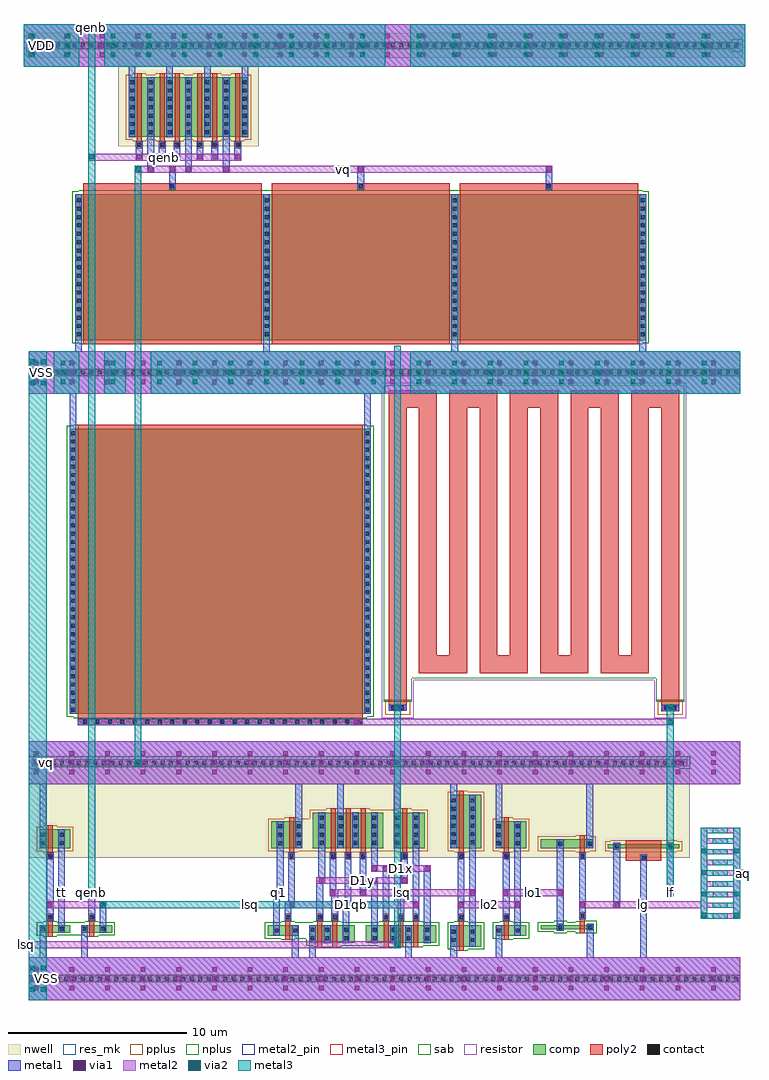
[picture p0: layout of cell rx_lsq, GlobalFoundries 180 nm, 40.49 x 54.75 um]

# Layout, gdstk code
import gdstk
lib = gdstk.Library(unit=1e-6, precision=1e-09)
def R(c, l, rs):  # rectangles x0, y0, x1, y1
    for r in rs: c.add(gdstk.rectangle(r[:2], r[2:], *l))
def A(c, l, x, y, w, h, nx, ny, dx, dy):  # array of equal rectangles
    R(c, l, [(x+i*dx, y+j*dy, x+i*dx+w, y+j*dy+h) for i in range(nx) for j in range(ny)])
nwell = (21, 0)
comp = (22, 0)
poly2 = (30, 0)
pplus = (31, 0)
nplus = (32, 0)
contact = (33, 0)
metal1 = (34, 0)
via1 = (35, 0)
metal2 = (36, 0)
metal2_pin = (36, 10)
via2 = (38, 0)
metal3 = (42, 0)
metal3_pin = (42, 10)
sab = (49, 0)
resistor = (62, 0)
res_mk = (110, 5)

rx_lsq = lib.new_cell('rx_lsq')
R(rx_lsq, nwell, [(0.3,5.585,37.38,11.255), (5.3,45.485,13.2,50.45), (0.15,50.45,40.34,51.85)])
R(rx_lsq, comp, [(0.3,-1.39,40.19,-1.01), (23.95,0.6,25.68,1.8), (16.02,0.8,18.59,1.8), (19.19,0.8,23.15,1.8), (13.69,1.2,15.42,1.8), (26.48,1.2,28.21,1.8), (0.9,1.38,2.63,1.8), (3.23,1.38,4.96,1.8), (29.92,1.5,30.3,1.58), (31.6,1.5,31.98,1.58), (29.01,1.58,31.98,1.8), (29.92,1.8,30.3,1.88), (31.6,1.8,31.98,1.88), (33.09,6.035,33.47,6.115), (36.09,6.035,36.47,6.115), (0.9,6.115,2.63,7.165), (13.89,6.115,15.62,7.615), (16.22,6.115,20.18,8.115), (20.78,6.115,22.51,8.115), (23.95,6.115,25.68,9.115), (26.48,6.115,28.21,7.615), (29.01,6.115,31.94,6.615), (32.78,6.115,36.78,6.335), (33.09,6.335,33.47,6.415), (36.09,6.335,36.47,6.415), (0.45,10.725,37.23,11.105), (2.58,13.645,19.48,29.645), (0.3,32.615,40.19,32.995), (2.9,34.605,34.92,42.795), (5.9,46.015,12.6,49.35), (0.3,50.96,40.19,51.34)])
A(rx_lsq, poly2, 20.19, 0.57, 0.28, 1.49, 3, 1, 0.84, 0)
A(rx_lsq, poly2, 20.145, 2.06, 0.37, 0.37, 3, 1, 0.84, 0)
A(rx_lsq, poly2, 17.175, 5.485, 0.37, 0.37, 3, 1, 0.84, 0)
A(rx_lsq, poly2, 17.22, 5.855, 0.28, 2.49, 3, 1, 0.84, 0)
A(rx_lsq, poly2, 22.18, 15.935, 2.7, 1, 4, 1, 3.4, 0)
A(rx_lsq, poly2, 22.18, 16.935, 1, 13.88, 8, 1, 1.7, 0)
A(rx_lsq, poly2, 20.48, 30.815, 2.7, 1, 5, 1, 3.4, 0)
A(rx_lsq, poly2, 3.35, 34.375, 10, 9.05, 3, 1, 10.56, 0)
R(rx_lsq, poly2, [(24.4,0.37,24.68,2.06), (16.47,0.57,16.75,2.06), (17.31,0.57,17.59,2.06), (14.69,0.97,14.97,2.06), (26.93,0.97,27.21,2.06), (1.35,1.15,1.63,2.06), (3.68,1.15,3.96,2.06), (31.21,1.35,31.49,2.14), (1.305,2.06,1.675,2.43), (3.635,2.06,4.005,2.43), (14.645,2.06,15.015,2.43), (16.425,2.06,16.795,2.43), (17.265,2.06,17.635,2.43), (24.355,2.06,24.725,2.43), (26.885,2.06,27.255,2.43), (31.165,2.14,31.535,2.51), (33.78,5.405,35.78,6.565), (1.305,5.485,1.675,5.855), (14.845,5.485,15.215,5.855), (21.185,5.485,21.555,5.855), (24.355,5.485,24.725,5.855), (26.885,5.485,27.255,5.855), (31.165,5.485,31.535,5.855), (1.35,5.855,1.63,7.395), (14.89,5.855,15.17,7.845), (21.23,5.855,21.51,8.345), (24.4,5.855,24.68,9.345), (26.93,5.855,27.21,7.845), (31.21,5.855,31.49,6.845), (3.03,13.015,19.03,29.875), (35.78,13.81,36.78,30.815), (20.48,13.815,21.48,30.815), (6.305,45.385,6.675,45.755), (7.585,45.385,7.955,45.755), (8.425,45.385,8.795,45.755), (9.705,45.385,10.075,45.755), (10.545,45.385,10.915,45.755), (11.825,45.385,12.195,45.755), (6.35,45.755,6.63,49.58), (7.63,45.755,7.91,49.58), (8.47,45.755,8.75,49.58), (9.75,45.755,10.03,49.58), (10.59,45.755,10.87,49.58), (11.87,45.755,12.15,49.58)])
R(rx_lsq, pplus, [(0.28,-1.41,40.21,-0.99), (32.93,5.875,33.63,5.885), (35.93,5.875,36.63,5.885), (1.12,5.885,1.86,5.955), (14.66,5.885,15.4,5.955), (16.99,5.885,19.41,5.955), (21,5.885,21.74,5.955), (24.17,5.885,24.91,5.955), (26.7,5.885,27.44,5.955), (30.98,5.885,31.72,5.955), (32.93,5.885,36.63,5.955), (0.74,5.955,2.79,7.325), (13.73,5.955,22.67,7.775), (23.79,5.955,25.84,9.275), (26.32,5.955,28.37,7.775), (28.85,5.955,32.1,6.775), (32.62,5.955,36.94,6.495), (32.93,6.495,36.63,6.565), (32.93,6.565,33.63,6.575), (35.93,6.565,36.63,6.575), (30.98,6.775,31.72,6.845), (1.12,7.325,1.86,7.395), (14.66,7.775,15.4,7.845), (16.06,7.775,22.67,8.275), (26.7,7.775,27.44,7.845), (16.99,8.275,19.41,8.345), (21,8.275,21.74,8.345), (24.17,9.275,24.91,9.345), (35.58,13.61,36.98,14.42), (20.28,13.615,21.68,14.425), (0.28,32.595,40.21,33.015), (6.12,45.785,6.86,45.855), (7.4,45.785,8.98,45.855), (9.52,45.785,11.1,45.855), (11.64,45.785,12.38,45.855), (5.74,45.855,12.76,49.51), (6.12,49.51,6.86,49.58), (7.4,49.51,8.98,49.58), (9.52,49.51,11.1,49.58), (11.64,49.51,12.38,49.58)])
R(rx_lsq, nplus, [(24.17,0.37,24.91,0.44), (23.79,0.44,25.84,1.96), (16.24,0.57,17.82,0.64), (19.96,0.57,22.38,0.64), (15.86,0.64,23.31,1.04), (14.46,0.97,15.2,1.04), (26.7,0.97,27.44,1.04), (13.53,1.04,23.31,1.96), (26.32,1.04,28.37,1.96), (1.12,1.15,1.86,1.22), (3.45,1.15,4.19,1.22), (0.74,1.22,5.12,1.96), (29.76,1.34,30.46,1.42), (31.44,1.34,32.14,1.35), (30.98,1.35,32.14,1.42), (28.85,1.42,32.14,1.96), (1.12,1.96,1.86,2.03), (3.45,1.96,4.19,2.03), (14.46,1.96,15.2,2.03), (16.24,1.96,17.82,2.03), (19.96,1.96,22.38,2.03), (24.17,1.96,24.91,2.03), (26.7,1.96,27.44,2.03), (29.76,1.96,30.46,2.04), (30.98,1.96,32.14,2.03), (31.44,2.03,32.14,2.04), (0.29,10.565,0.89,10.665), (36.79,10.565,37.39,10.665), (0.29,10.665,37.39,11.265), (2.8,13.415,19.26,13.485), (2.42,13.485,19.64,29.805), (2.8,29.805,19.26,29.875), (3.12,34.375,34.7,34.445), (2.74,34.445,35.08,42.955), (3.12,42.955,34.7,43.025), (0.14,50.8,0.74,50.94), (39.75,50.8,40.35,50.94), (0.14,50.94,40.35,51.36), (0.14,51.36,0.74,51.5), (39.75,51.36,40.35,51.5)])
A(rx_lsq, contact, 0.395, -1.31, 0.22, 0.22, 85, 2, 0.47, 34.005)
A(rx_lsq, contact, 20.22, 2.135, 0.22, 0.22, 3, 1, 0.84, 0)
A(rx_lsq, contact, 17.25, 5.56, 0.22, 0.22, 3, 1, 0.84, 0)
A(rx_lsq, contact, 14.28, 6.285, 0.22, 0.22, 1, 3, 0, 0.47)
A(rx_lsq, contact, 15.325, 6.285, 0.22, 0.22, 1, 3, 0, 0.47)
A(rx_lsq, contact, 26.555, 6.285, 0.22, 0.22, 1, 3, 0, 0.47)
A(rx_lsq, contact, 27.6, 6.285, 0.22, 0.22, 1, 3, 0, 0.47)
A(rx_lsq, contact, 16.61, 6.3, 0.22, 0.22, 1, 4, 0, 0.47)
A(rx_lsq, contact, 17.67, 6.3, 0.22, 0.22, 1, 4, 0, 0.47)
A(rx_lsq, contact, 18.51, 6.3, 0.22, 0.22, 1, 4, 0, 0.47)
A(rx_lsq, contact, 19.57, 6.3, 0.22, 0.22, 1, 4, 0, 0.47)
A(rx_lsq, contact, 20.855, 6.3, 0.22, 0.22, 1, 4, 0, 0.47)
A(rx_lsq, contact, 21.9, 6.3, 0.22, 0.22, 1, 4, 0, 0.47)
A(rx_lsq, contact, 24.025, 6.33, 0.22, 0.22, 1, 6, 0, 0.47)
A(rx_lsq, contact, 25.07, 6.33, 0.22, 0.22, 1, 6, 0, 0.47)
A(rx_lsq, contact, 0.635, 10.805, 0.22, 0.22, 78, 1, 0.47, 0)
A(rx_lsq, contact, 3.335, 13.09, 0.22, 0.22, 23, 1, 0.7, 0)
A(rx_lsq, contact, 2.66, 13.78, 0.22, 0.22, 1, 34, 0, 0.47)
A(rx_lsq, contact, 19.18, 13.78, 0.22, 0.22, 1, 34, 0, 0.47)
A(rx_lsq, contact, 2.975, 34.83, 0.22, 0.22, 1, 17, 0, 0.47)
A(rx_lsq, contact, 13.52, 34.83, 0.22, 0.22, 1, 17, 0, 0.47)
A(rx_lsq, contact, 24.08, 34.83, 0.22, 0.22, 1, 17, 0, 0.47)
A(rx_lsq, contact, 34.625, 34.83, 0.22, 0.22, 1, 17, 0, 0.47)
A(rx_lsq, contact, 8.24, 43.13, 0.22, 0.22, 3, 1, 10.56, 0)
A(rx_lsq, contact, 5.975, 46.16, 0.22, 0.22, 1, 7, 0, 0.47)
A(rx_lsq, contact, 7.02, 46.16, 0.22, 0.22, 5, 7, 1.06, 0.47)
A(rx_lsq, contact, 12.305, 46.16, 0.22, 0.22, 1, 7, 0, 0.47)
A(rx_lsq, contact, 0.395, 51.04, 0.22, 0.22, 85, 1, 0.47, 0)
R(rx_lsq, contact, [(24.025,0.855,24.245,1.075), (25.07,0.855,25.29,1.075), (16.095,0.955,16.315,1.175), (16.92,0.955,17.14,1.175), (17.98,0.955,18.2,1.175), (19.58,0.955,19.8,1.175), (20.64,0.955,20.86,1.175), (21.48,0.955,21.7,1.175), (22.54,0.955,22.76,1.175), (24.025,1.325,24.245,1.545), (25.07,1.325,25.29,1.545), (14.08,1.39,14.3,1.61), (15.125,1.39,15.345,1.61), (26.555,1.39,26.775,1.61), (27.6,1.39,27.82,1.61), (16.095,1.425,16.315,1.645), (16.92,1.425,17.14,1.645), (17.98,1.425,18.2,1.645), (19.58,1.425,19.8,1.645), (20.64,1.425,20.86,1.645), (21.48,1.425,21.7,1.645), (22.54,1.425,22.76,1.645), (0.975,1.48,1.195,1.7), (2.02,1.48,2.24,1.7), (3.305,1.48,3.525,1.7), (4.35,1.48,4.57,1.7), (30,1.58,30.22,1.8), (31.68,1.58,31.9,1.8), (1.38,2.135,1.6,2.355), (3.71,2.135,3.93,2.355), (14.72,2.135,14.94,2.355), (16.5,2.135,16.72,2.355), (17.34,2.135,17.56,2.355), (24.43,2.135,24.65,2.355), (26.96,2.135,27.18,2.355), (31.24,2.215,31.46,2.435), (34.67,5.48,34.89,5.7), (1.38,5.56,1.6,5.78), (14.92,5.56,15.14,5.78), (21.26,5.56,21.48,5.78), (24.43,5.56,24.65,5.78), (26.96,5.56,27.18,5.78), (31.24,5.56,31.46,5.78), (33.17,6.115,33.39,6.335), (36.17,6.115,36.39,6.335), (30,6.255,30.22,6.475), (31.645,6.255,31.865,6.475), (0.975,6.295,1.195,6.515), (2.02,6.295,2.24,6.515), (0.975,6.765,1.195,6.985), (2.02,6.765,2.24,6.985), (35.935,13.88,36.155,14.1), (36.405,13.88,36.625,14.1), (20.635,13.885,20.855,14.105), (21.105,13.885,21.325,14.105), (6.38,45.46,6.6,45.68), (7.66,45.46,7.88,45.68), (8.5,45.46,8.72,45.68), (9.78,45.46,10,45.68), (10.62,45.46,10.84,45.68), (11.9,45.46,12.12,45.68)])
A(rx_lsq, metal1, 8.16, 43.05, 0.38, 1.34, 3, 1, 10.56, 0)
A(rx_lsq, metal1, 6.94, 44.01, 0.38, 5.345, 3, 1, 2.12, 0)
R(rx_lsq, metal1, [(0.3,-2.4,40.19,0), (0.895,0,1.275,1.805), (3.225,0,3.605,1.805), (15.045,0,15.425,1.805), (16.015,0,16.395,1.805), (21.4,0,21.78,1.805), (23.945,0,24.325,1.805), (26.475,0,26.855,1.805), (31.6,0,31.98,1.885), (34.59,0,34.97,5.78), (24.99,0.595,25.37,9.12), (16.84,0.795,17.22,1.805), (17.9,0.795,18.28,2.75), (19.5,0.795,19.88,4.49), (20.56,0.795,20.94,1.805), (22.46,0.795,22.84,5.17), (14,1.195,14.38,3.43), (27.52,1.195,27.9,7.62), (1.94,1.375,2.32,7.17), (4.27,1.375,4.65,3.13), (29.92,1.495,30.3,6.62), (1.3,2.055,1.68,5.86), (3.63,2.055,4.01,3.81), (14.64,2.055,15.02,2.75), (16.42,2.055,16.8,4.11), (17.26,2.055,17.64,3.43), (20.14,2.055,20.52,5.17), (20.98,2.055,21.36,3.81), (21.82,2.055,22.2,8.12), (24.35,2.055,24.73,5.86), (26.88,2.055,27.26,5.86), (31.16,2.135,31.54,5.86), (14.64,2.75,15.22,3.13), (17.9,2.75,18.39,3.13), (33.09,2.75,33.47,6.42), (14.84,3.13,15.22,5.86), (18.01,3.13,18.39,5.86), (14,3.43,14.58,3.81), (17.17,3.43,17.64,3.81), (18.85,3.43,19.23,5.86), (36.09,3.43,36.47,6.42), (14.2,3.81,14.58,7.62), (17.17,3.81,17.55,5.86), (16.42,4.11,16.91,4.49), (21.18,4.11,21.56,5.86), (16.53,4.49,16.91,8.12), (19.49,4.79,19.87,8.12), (0.895,6.11,1.275,9.715), (15.245,6.11,15.625,9.715), (17.59,6.11,17.97,9.715), (18.43,6.11,18.81,8.12), (20.775,6.11,21.155,9.715), (23.945,6.11,24.325,9.715), (26.475,6.11,26.855,9.715), (31.565,6.11,31.945,9.715), (0.3,9.715,40.19,12.115), (18.54,13.01,18.92,13.015), (3.03,13.015,19.03,13.385), (18.54,13.385,18.92,13.39), (2.58,13.645,2.96,31.605), (19.1,13.645,19.48,31.605), (36.09,13.8,36.47,13.81), (20.79,13.805,21.17,13.815), (35.78,13.81,36.78,14.17), (20.48,13.815,21.48,14.175), (36.09,14.17,36.47,14.18), (20.79,14.175,21.17,14.185), (0.3,31.605,40.19,34.005), (2.895,34.005,3.275,42.8), (13.44,34.005,13.82,42.8), (24,34.005,24.38,42.8), (34.545,34.005,34.925,42.8), (6.3,44.69,6.68,45.76), (7.58,44.69,7.96,45.76), (8.42,44.69,8.8,45.76), (9.7,44.69,10.08,45.76), (10.54,44.69,10.92,45.76), (11.82,44.69,12.2,45.76), (5.895,46.01,6.275,49.95), (8,46.01,8.38,49.95), (10.12,46.01,10.5,49.95), (12.225,46.01,12.605,49.95), (0,49.95,40.49,52.35)])
A(rx_lsq, via1, 0.57, -1.85, 0.26, 0.26, 20, 3, 2, 0.52)
A(rx_lsq, via1, 0.57, 10.265, 0.26, 0.26, 20, 3, 2, 0.52)
A(rx_lsq, via1, 0.57, 32.155, 0.26, 0.26, 20, 3, 2, 0.52)
A(rx_lsq, via1, 0.27, 50.5, 0.26, 0.26, 20, 3, 2, 0.52)
R(rx_lsq, via1, [(1.36,2.81,1.62,3.07), (4.33,2.81,4.59,3.07), (14.9,2.81,15.16,3.07), (18.07,2.81,18.33,3.07), (21.88,2.81,22.14,3.07), (24.41,2.81,24.67,3.07), (27.58,2.81,27.84,3.07), (31.22,2.81,31.48,3.07), (33.15,2.81,33.41,3.07), (2,3.49,2.26,3.75), (3.69,3.49,3.95,3.75), (14.26,3.49,14.52,3.75), (17.23,3.49,17.49,3.75), (18.91,3.49,19.17,3.75), (21.04,3.49,21.3,3.75), (25.05,3.49,25.31,3.75), (26.94,3.49,27.2,3.75), (29.98,3.49,30.24,3.75), (36.15,3.49,36.41,3.75), (16.59,4.17,16.85,4.43), (19.56,4.17,19.82,4.43), (21.24,4.17,21.5,4.43), (19.55,4.85,19.81,5.11), (20.2,4.85,20.46,5.11), (22.52,4.85,22.78,5.11), (18.6,13.07,18.86,13.33), (36.15,13.86,36.41,14.12), (20.85,13.865,21.11,14.125), (7,44.07,7.26,44.33), (8.22,44.07,8.48,44.33), (9.12,44.07,9.38,44.33), (11.24,44.07,11.5,44.33), (18.78,44.07,19.04,44.33), (29.34,44.07,29.6,44.33), (6.36,44.75,6.62,45.01), (7.64,44.75,7.9,45.01), (8.48,44.75,8.74,45.01), (9.76,44.75,10.02,45.01), (10.6,44.75,10.86,45.01), (11.88,44.75,12.14,45.01)])
A(rx_lsq, metal2, 37.98, 3.965, 1.53, 0.3, 1, 3, 0, 1.2)
R(rx_lsq, metal2, [(0.3,-2.4,40.19,0), (0,0.51,21.17,0.89), (37.98,2.165,38.36,2.75), (38.66,2.165,40.19,2.465), (39.81,2.465,40.19,3.365), (1.3,2.75,4.65,3.13), (14.64,2.75,22.2,3.13), (24.35,2.75,27.9,3.13), (31.16,2.75,38.36,2.765), (31.16,2.765,39.51,3.065), (31.16,3.065,38.36,3.13), (37.98,3.13,38.36,3.965), (38.66,3.365,40.19,3.665), (1.94,3.43,2.32,3.81), (3.63,3.43,4.01,3.81), (14,3.43,14.58,3.81), (17.17,3.43,25.37,3.81), (26.88,3.43,30.3,3.81), (36.09,3.43,36.47,3.81), (39.81,3.665,40.19,4.525), (16.42,4.11,21.56,4.49), (37.98,4.265,38.36,5.165), (39.81,4.525,40.49,4.565), (38.66,4.565,40.49,4.865), (19.49,4.79,22.84,5.17), (39.81,4.865,40.49,4.905), (39.81,4.905,40.19,5.765), (37.98,5.465,38.36,6.365), (38.66,5.765,40.19,6.065), (39.81,6.065,40.19,6.965), (37.98,6.665,38.36,7.265), (38.66,6.965,40.19,7.265), (0.3,9.715,40.19,12.115), (18.54,13.01,36.47,13.39), (36.09,13.8,36.47,14.18), (20.79,13.805,21.17,14.185), (0.3,31.605,40.19,34.005), (6.23,44.01,29.66,44.39), (3.63,44.69,12.2,45.07), (0,49.95,40.49,52.35)])
R(rx_lsq, metal2_pin, [(1.25,-1.25,1.35,-1.15), (0.1,0.65,0.2,0.75), (40.34,4.665,40.44,4.765), (0.95,32.755,1.05,32.855), (0.95,51.1,1.05,51.2)])
A(rx_lsq, via2, 38.04, 2.225, 0.26, 0.26, 1, 4, 0, 1.2)
A(rx_lsq, via2, 39.87, 2.225, 0.26, 0.26, 1, 4, 0, 1.2)
A(rx_lsq, via2, 2.07, 32.155, 0.26, 0.26, 1, 3, 0, 0.52)
A(rx_lsq, via2, 4.89, 32.155, 0.26, 0.26, 1, 3, 0, 0.52)
A(rx_lsq, via2, 7.49, 32.155, 0.26, 0.26, 7, 3, 2, 0.52)
A(rx_lsq, via2, 22.05, 32.155, 0.26, 0.26, 9, 3, 2, 0.52)
A(rx_lsq, via2, 0.37, 50.5, 0.26, 0.26, 1, 3, 0, 0.52)
A(rx_lsq, via2, 2.37, 50.5, 0.26, 0.26, 1, 3, 0, 0.52)
A(rx_lsq, via2, 4.89, 50.5, 0.26, 0.26, 8, 3, 2, 0.52)
A(rx_lsq, via2, 22.05, 50.5, 0.26, 0.26, 9, 3, 2, 0.52)
R(rx_lsq, via2, [(0.37,-1.93,0.63,-1.67), (0.97,-1.93,1.23,-1.67), (0.37,-0.73,0.63,-0.47), (0.97,-0.73,1.23,-0.47), (20.85,0.57,21.11,0.83), (4.33,2.81,4.59,3.07), (3.69,3.49,3.95,3.75), (20.85,3.49,21.11,3.75), (36.15,3.49,36.41,3.75), (6.29,10.785,6.55,11.045), (36.15,13.07,36.41,13.33), (36.15,13.86,36.41,14.12), (20.85,13.865,21.11,14.125), (0.37,32.075,0.63,32.335), (0.97,32.075,1.23,32.335), (0.37,33.275,0.63,33.535), (0.97,33.275,1.23,33.535), (6.29,44.07,6.55,44.33), (3.69,44.75,3.95,45.01)])
A(rx_lsq, metal3, 37.98, 2.165, 1.53, 0.3, 1, 5, 0, 1.2)
A(rx_lsq, metal3, 37.98, 2.465, 0.38, 0.9, 1, 4, 0, 1.2)
A(rx_lsq, metal3, 38.66, 2.765, 1.53, 0.3, 1, 4, 0, 1.2)
A(rx_lsq, metal3, 39.81, 3.065, 0.38, 0.9, 1, 3, 0, 1.2)
R(rx_lsq, metal3, [(0.3,-2.4,1.3,34.005), (20.79,0.51,21.17,2.75), (39.81,2.165,40.19,2.765), (4.27,2.75,21.17,3.13), (20.79,3.13,21.17,34.305), (3.63,3.43,4.01,52.35), (36.09,3.43,36.47,14.18), (39.81,6.665,40.19,7.265), (6.23,10.725,6.61,44.39), (1.7,31.605,3.12,34.005), (4.52,31.605,5.72,34.005), (7.12,31.605,20.28,34.005), (21.68,31.605,40.19,34.005), (0,49.95,3.12,52.35), (4.52,49.95,20.28,52.35), (21.68,49.95,40.49,52.35)])
R(rx_lsq, metal3_pin, [(3.77,52.1,3.87,52.2)])
A(rx_lsq, sab, 21.9, 15.655, 3.26, 1.56, 4, 1, 3.4, 0)
A(rx_lsq, sab, 21.9, 17.215, 1.56, 13.32, 8, 1, 1.7, 0)
A(rx_lsq, sab, 20.2, 30.535, 3.26, 1.56, 5, 1, 3.4, 0)
R(rx_lsq, sab, [(35.5,14.32,37.06,30.535), (20.2,14.325,21.76,30.535), (35.5,14.42,37.06,15.655), (20.2,14.425,21.76,15.655), (20.2,15.655,37.06,32.095)])
R(rx_lsq, resistor, [(35.38,13.41,37.18,15.535), (20.08,13.415,21.88,15.535), (20.08,15.535,37.18,32.215)])
A(rx_lsq, res_mk, 22.18, 15.935, 2.7, 1, 4, 1, 3.4, 0)
A(rx_lsq, res_mk, 22.18, 16.935, 1, 13.88, 8, 1, 1.7, 0)
A(rx_lsq, res_mk, 20.48, 30.815, 2.7, 1, 5, 1, 3.4, 0)
R(rx_lsq, res_mk, [(35.5,14.42,37.06,15.655), (35.78,14.42,36.78,30.815), (20.2,14.425,21.76,15.655), (20.48,14.425,21.48,30.815), (20.2,15.655,37.06,32.095)])
rx_lsq.add(gdstk.Label('lg', (34.76,2.94), layer=36, texttype=0))
rx_lsq.add(gdstk.Label('lsq', (21.27,3.62), layer=36, texttype=0))
rx_lsq.add(gdstk.Label('lo1', (28.59,3.62), layer=36, texttype=0))
rx_lsq.add(gdstk.Label('lo2', (26.125,2.94), layer=36, texttype=0))
rx_lsq.add(gdstk.Label('q1', (14.29,3.62), layer=36, texttype=0))
rx_lsq.add(gdstk.Label('tt', (2.13,3.62), layer=36, texttype=0))
rx_lsq.add(gdstk.Label('vq', (1.3,10.915), layer=36, texttype=0))
rx_lsq.add(gdstk.Label('D1x', (21.165,4.98), layer=36, texttype=0))
rx_lsq.add(gdstk.Label('D1y', (18.99,4.3), layer=36, texttype=0))
rx_lsq.add(gdstk.Label('D1qb', (18.42,2.94), layer=36, texttype=0))
rx_lsq.add(gdstk.Label('vq', (17.945,44.2), layer=36, texttype=0))
rx_lsq.add(gdstk.Label('qenb', (7.915,44.88), layer=36, texttype=0))
rx_lsq.add(gdstk.Label('lf', (36.28,3.62), layer=42, texttype=0))
rx_lsq.add(gdstk.Label('qenb', (3.82,3.62), layer=42, texttype=0))
rx_lsq.add(gdstk.Label('lsq', (12.72,2.94), layer=42, texttype=0))
rx_lsq.add(gdstk.Label('aq', (40.39,4.715), layer=36, texttype=10))
rx_lsq.add(gdstk.Label('VSS', (1,32.805), layer=36, texttype=10))
rx_lsq.add(gdstk.Label('VSS', (1.3,-1.2), layer=36, texttype=10))
rx_lsq.add(gdstk.Label('VDD', (1,51.15), layer=36, texttype=10))
rx_lsq.add(gdstk.Label('lsq', (0.15,0.7), layer=36, texttype=10))
rx_lsq.add(gdstk.Label('qenb', (3.82,52.15), layer=42, texttype=10))

lib.write_gds('rx_lsq.gds')
